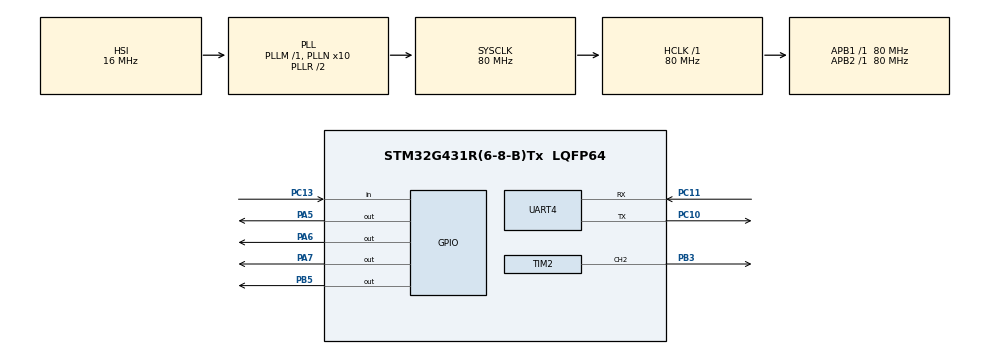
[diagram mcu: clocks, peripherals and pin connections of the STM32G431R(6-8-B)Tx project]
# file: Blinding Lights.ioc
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Dma.Request0=UART4_RX
Dma.UART4_RX.0.Direction=DMA_PERIPH_TO_MEMORY
Dma.UART4_RX.0.EventEnable=DISABLE
Dma.UART4_RX.0.Instance=DMA1_Channel1
Dma.UART4_RX.0.MemDataAlignment=DMA_MDATAALIGN_BYTE
Dma.UART4_RX.0.MemInc=DMA_MINC_ENABLE
Dma.UART4_RX.0.Mode=DMA_CIRCULAR
Dma.UART4_RX.0.PeriphDataAlignment=DMA_PDATAALIGN_BYTE
Dma.UART4_RX.0.PeriphInc=DMA_PINC_DISABLE
Dma.UART4_RX.0.Polarity=HAL_DMAMUX_REQ_GEN_RISING
Dma.UART4_RX.0.Priority=DMA_PRIORITY_LOW
Dma.UART4_RX.0.RequestNumber=1
Dma.UART4_RX.0.SignalID=NONE
Dma.UART4_RX.0.SyncEnable=DISABLE
Dma.UART4_RX.0.SyncPolarity=HAL_DMAMUX_SYNC_NO_EVENT
Dma.UART4_RX.0.SyncRequestNumber=1
Dma.UART4_RX.0.SyncSignalID=NONE
Mcu.Family=STM32G4
Mcu.Name=STM32G431R(6-8-B)Tx
Mcu.Package=LQFP64
NVIC.DMA1_Channel1_IRQn=true\:0\:0\:false\:false\:true\:false\:true\:true
NVIC.PriorityGroup=NVIC_PRIORITYGROUP_4
NVIC.TIM1_TRG_COM_TIM17_IRQn=true\:0\:0\:false\:false\:true\:true\:true\:true
NVIC.TIM2_IRQn=true\:0\:0\:false\:false\:true\:true\:true\:true
NVIC.UART4_IRQn=true\:0\:0\:false\:false\:true\:true\:true\:true
PA0.Signal=S_TIM2_CH1
PA13.GPIO_Label=T_SWDIO
PA13.Mode=Serial_Wire
PA13.Signal=SYS_JTMS-SWDIO
PA14.GPIO_Label=T_SWCLK
PA14.Mode=Serial_Wire
PA14.Signal=SYS_JTCK-SWCLK
PA5.Signal=GPIO_Output
PA6.Signal=GPIO_Output
PA7.Signal=GPIO_Output
PB3.Signal=S_TIM2_CH2
PB5.Signal=GPIO_Output
PC10.Mode=Asynchronous
PC10.Signal=UART4_TX
PC11.Mode=Asynchronous
PC11.Signal=UART4_RX
PC13.Signal=GPIO_Input
PC14-OSC32_IN.Mode=LSE-External-Oscillator
PC14-OSC32_IN.Signal=RCC_OSC32_IN
PC15-OSC32_OUT.Mode=LSE-External-Oscillator
PC15-OSC32_OUT.Signal=RCC_OSC32_OUT
PF0-OSC_IN.Mode=HSE-External-Oscillator
PF0-OSC_IN.Signal=RCC_OSC_IN
PF1-OSC_OUT.Mode=HSE-External-Oscillator
PF1-OSC_OUT.Signal=RCC_OSC_OUT
ProjectManager.HeapSize=0x200
ProjectManager.StackSize=0x400
ProjectManager.TargetToolchain=STM32CubeIDE
RCC.ADC12Freq_Value=80000000
RCC.AHBFreq_Value=80000000
RCC.APB1Freq_Value=80000000
RCC.APB1TimFreq_Value=80000000
RCC.APB2Freq_Value=80000000
RCC.APB2TimFreq_Value=80000000
RCC.CortexFreq_Value=80000000
RCC.EXTERNAL_CLOCK_VALUE=12288000
RCC.HCLKFreq_Value=80000000
RCC.HSE_VALUE=24000000
RCC.HSI48_VALUE=48000000
RCC.HSI_VALUE=16000000
RCC.PLLN=10
RCC.RTCClockSelection=RCC_RTCCLKSOURCE_LSE
RCC.SYSCLKFreq_VALUE=80000000
RCC.SYSCLKSource=RCC_SYSCLKSOURCE_PLLCLK
RCC.USBFreq_Value=80000000
RCC.VCOOutputFreq_Value=160000000
SH.S_TIM2_CH1.0=TIM2_CH1
SH.S_TIM2_CH2.0=TIM2_CH2,PWM Generation2 CH2
TIM17.PeriodNoDither=2 -1
TIM17.Prescaler=40000 -1
TIM2.Channel-PWM\ Generation2\ CH2=TIM_CHANNEL_2
TIM2.PeriodNoDither=255
TIM2.PulseNoDither_2=127
VP_SYS_VS_DBSignals.Mode=DisableDeadBatterySignals
VP_TIM17_VS_ClockSourceINT.Mode=Enable_Timer
VP_TIM2_VS_ClockSourceINT.Mode=Internal
board=NUCLEO-G431RB

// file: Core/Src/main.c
/* USER CODE BEGIN Header */
/**
 ******************************************************************************
 * @file           : main.c
 * @brief          : Main program body
 ******************************************************************************
 * @attention
 *
 * Copyright (c) 2023 STMicroelectronics.
 * All rights reserved.
 *
 * This software is licensed under terms that can be found in the LICENSE file
 * in the root directory of this software component.
 * If no LICENSE file comes with this software, it is provided AS-IS.
 *
 ******************************************************************************
 */
/* USER CODE END Header */
#include "main.h"

/* USER CODE BEGIN Includes */
#include "stdio.h"
#include "stm32g4xx_hal_tim.h"
#include <stdbool.h>
/*include "delay_us.h"*/
/* USER CODE END Includes */

/* USER CODE BEGIN PD */
#define LED_PORT_A GPIOA
#define LED_PIN_B GPIO_PIN_5
#define LED_PIN_G GPIO_PIN_6
#define LED_PIN_R GPIO_PIN_7
#define DELAY 10

/* USER CODE END PD */

TIM_HandleTypeDef htim2;
TIM_HandleTypeDef htim17;

UART_HandleTypeDef huart4;
DMA_HandleTypeDef hdma_uart4_rx;

/* USER CODE BEGIN PV */
volatile uint32_t millis, millis2; // Variable to count milliseconds
int buttonFlag, interrupt_flag; // Flag to indicate button press
/* USER CODE END PV */

void SystemClock_Config(void);
static void MX_GPIO_Init(void);
static void MX_DMA_Init(void);
static void MX_UART4_Init(void);
static void MX_TIM17_Init(void);
static void MX_TIM2_Init(void);
/* USER CODE BEGIN PFP */

#ifdef __GNUC__
#define PUTCHAR_PROTOTYPE int __io_putchar(int ch)
#else
#define PUTCHAR_PROTOTYPE int fputc(int ch, FILE *f)
#endif /* __GNUC__ */

/* USER CODE END PFP */

/* USER CODE BEGIN 0 */
static uint32_t counter1, counter2;
int sek, milli_in_sek;
void HAL_TIM_PeriodElapsedCallback(TIM_HandleTypeDef *htim) {
	// check if TIMER x is the one responsible the interrupts
	if (htim->Instance == TIM17) {
		millis++; // Increment milliseconds counter
		millis2++;
		counter1++;
		interrupt_flag = 1;
		milli_in_sek++;
		if (milli_in_sek == 1000) {
			sek++;
			milli_in_sek = 0;
		}
		if (HAL_GPIO_ReadPin(GPIOC, GPIO_PIN_13) == GPIO_PIN_SET) {
			printf("millisec: %lu\n ", millis);
		} else {
			printf("LED OFF \r\n");
		}
		// Read button state using HAL function
		buttonFlag = (HAL_GPIO_ReadPin(GPIOC, GPIO_PIN_13) == GPIO_PIN_SET);

	}

}

int i = 1;
void PRINT_THROW() {
	if (HAL_GPIO_ReadPin(GPIOC, GPIO_PIN_13) == GPIO_PIN_RESET) {
		printf("LED OFF\n\r");
		i = 1;
	} else if (HAL_GPIO_ReadPin(GPIOC, GPIO_PIN_13) == GPIO_PIN_SET) {
		printf("LED ON\n\r");
	}
}

void LEDS_BLINKING() {
	if (HAL_GPIO_ReadPin(GPIOC, GPIO_PIN_13) == GPIO_PIN_RESET) {
		HAL_GPIO_WritePin(GPIOA, LED_PIN_R | LED_PIN_G | LED_PIN_B,
				GPIO_PIN_RESET);
	} else {

		while (i <= 1) {
			PRINT_THROW();
			++i;
		}
	}
}

void LEDS_OFF() {
	HAL_GPIO_WritePin(GPIOA, LED_PIN_R, GPIO_PIN_RESET);
	HAL_GPIO_WritePin(GPIOA, LED_PIN_G, GPIO_PIN_RESET);
	HAL_GPIO_WritePin(GPIOA, LED_PIN_B, GPIO_PIN_RESET);
}

void Modus_1() {
	if (HAL_GPIO_ReadPin(GPIOC, GPIO_PIN_13) == GPIO_PIN_RESET) {
		millis = 0;
	}
}

void Modus_2() {
}

uint32_t elapsed_ms(void) {
	static uint32_t previous;
	uint32_t ms = counter1;
	uint32_t diff = ms - previous;
	previous = ms;
	return diff;
}

int duty_cycle, brightness_changer;
bool pwm_flag = true;
bool brightness_direction = true;

void pwm_simple(){
		counter2++;
		if (millis2 == 50){
			millis2 = 0;
			if (brightness_changer < 14 && brightness_direction == true){
				brightness_changer++;
			}
			else if (brightness_changer > 0 && brightness_direction == false){
				brightness_changer--;
			}
			else if (brightness_changer == 14){
				brightness_direction = false;
			}
			else if (brightness_changer == 0){
				brightness_direction = true;
			}
			else{
				brightness_changer = 0;
				brightness_direction = true;
			}
		}
		if (counter2 < 14) {
			if (duty_cycle < brightness_changer){
				duty_cycle++;
				pwm_flag = true;
			}
			else {
				pwm_flag = false;
			}
		}
		else {
			counter2 = 0;
			duty_cycle = 0;
		}
		if (pwm_flag == true) {
			HAL_GPIO_WritePin(GPIOB, GPIO_PIN_5, GPIO_PIN_SET);
		}
		else {
			HAL_GPIO_WritePin(GPIOB, GPIO_PIN_5, GPIO_PIN_RESET);
		}
}
/* USER CODE END 0 */

int main(void)
{
  /* USER CODE BEGIN 1 */
	char uart_buf[50];
	int uart_buf_len;
	/*uint16_t timer_val;*/
  /* USER CODE END 1 */

  /* MCU Configuration--------------------------------------------------------*/

  /* Reset of all peripherals, Initializes the Flash interface and the Systick. */
  HAL_Init();

  /* Configure the system clock */
  SystemClock_Config();

  /* Initialize all configured peripherals */
  MX_GPIO_Init();
  MX_DMA_Init();
  MX_UART4_Init();
  MX_TIM17_Init();
  MX_TIM2_Init();
  /* USER CODE BEGIN 2 */
	// Say something
	uart_buf_len = sprintf(uart_buf, "Timer test\r\n");
	HAL_UART_Transmit(&huart4, (uint8_t*) uart_buf, uart_buf_len, 100);
	// Start timer
	HAL_TIM_Base_Init(&htim17);
	HAL_TIM_PWM_MspInit(&htim2);
  /* USER CODE END 2 */

  /* Infinite loop */
  /* USER CODE BEGIN WHILE */
	printf(uart_buf);
	PRINT_THROW();
	HAL_TIM_Base_Start_IT(&htim17);
	HAL_TIM_Base_Init(&htim2);
	HAL_TIM_PWM_Init(&htim2);
	//HAL_TIM_PWM_ConfigChannel(&htim2, &sConfigOC, TIM_CHANNEL_2);
	while (1) {
		elapsed_ms();
		if (buttonFlag) {
			if (millis >= 0 && millis <= 300) {
				HAL_GPIO_WritePin(GPIOA, LED_PIN_R, GPIO_PIN_SET);
			} else if (millis >= 500 && millis <= 800) {
				HAL_GPIO_WritePin(GPIOA, LED_PIN_G, GPIO_PIN_SET);
			} else if (millis >= 1000 && millis <= 1300) {
				HAL_GPIO_WritePin(GPIOA, LED_PIN_B, GPIO_PIN_SET);
			} else if (millis >= 1500 && millis <= 1800) {
				HAL_GPIO_WritePin(GPIOA, LED_PIN_R | LED_PIN_G, GPIO_PIN_SET);
			} else if (millis >= 2000 && millis <= 2300) {
				HAL_GPIO_WritePin(GPIOA, LED_PIN_R | LED_PIN_B, GPIO_PIN_SET);
			} else if (millis >= 2500 && millis <= 2800) {
				HAL_GPIO_WritePin(GPIOA, LED_PIN_G | LED_PIN_B, GPIO_PIN_SET);
			} else if (millis >= 3000 && millis <= 3300) {
				HAL_GPIO_WritePin(GPIOA, LED_PIN_R | LED_PIN_G | LED_PIN_B,
						GPIO_PIN_SET);
			} else if (millis >= 3300 && millis <= 3500) {
				HAL_GPIO_WritePin(GPIOA, LED_PIN_R | LED_PIN_G | LED_PIN_B,
						GPIO_PIN_RESET);
			} else {
				// If the button is pressed but millis is not within the desired pattern
				LEDS_OFF();
			}
		} else {
			// If the button is not pressed, turn off all LEDs
			LEDS_OFF();
		}

		// Reset millis after every 1300ms cycle
		if (millis > 3500) {
			millis = 0;
		}
		if(interrupt_flag == 1){
			interrupt_flag = 0;
			pwm_simple();
		}
		/*bool direction = true;
		__HAL_TIM_SET_COMPARE(&htim2, TIM_CHANNEL_2, 0);
		uint32_t pwm_register = HAL_TIM_ReadCapturedValue(&htim2, TIM_CHANNEL_2);
		if (HAL_GPIO_ReadPin(GPIOC, GPIO_PIN_13) == GPIO_PIN_SET) {
			if (!(TIM2->CR1 & TIM_CR1_CEN)) {
				HAL_TIM_PWM_Start(&htim2, TIM_CHANNEL_2);
			}
			if (counter1 >= DELAY) {
				if ((direction == true) && pwm_register < 255) {
					pwm_register++;
					__HAL_TIM_SET_COMPARE(&htim2, TIM_CHANNEL_2, pwm_register);
					TIM2->CCR2 = pwm_register;
					counter1 = 0;
				}
				else if ((direction == false) && pwm_register > 0) {
					pwm_register--;
					__HAL_TIM_SET_COMPARE(&htim2, TIM_CHANNEL_2, pwm_register);
					TIM2->CCR2 = pwm_register;
					counter1 = 0;
				}
				else if (pwm_register == 0) {
					direction = true;
					__HAL_TIM_SET_COMPARE(&htim2, TIM_CHANNEL_2, pwm_register);
					TIM2->CCR2 = pwm_register;
					counter1 = 0;
				}
				else if (pwm_register == 255) {
					direction = false;
					__HAL_TIM_SET_COMPARE(&htim2, TIM_CHANNEL_2, pwm_register);
					TIM2->CCR2 = pwm_register;
					counter1 = 0;
				}
				else {
					pwm_register = 0;
					__HAL_TIM_SET_COMPARE(&htim2, TIM_CHANNEL_2, pwm_register);
					TIM2->CCR2 = pwm_register;
					counter1 = 0;
				}
			}
			uint32_t pwm_duty_cycle = TIM2->CCR2;
		}
		else {
			HAL_TIM_PWM_Stop(&htim2, TIM_CHANNEL_2);
		}*/
	}

    /* USER CODE END WHILE */

}

void SystemClock_Config(void)
{
  RCC_OscInitTypeDef RCC_OscInitStruct = {0};
  RCC_ClkInitTypeDef RCC_ClkInitStruct = {0};

  /** Configure the main internal regulator output voltage
  */
  HAL_PWREx_ControlVoltageScaling(PWR_REGULATOR_VOLTAGE_SCALE1);

  /** Initializes the RCC Oscillators according to the specified parameters
  * in the RCC_OscInitTypeDef structure.
  */
  RCC_OscInitStruct.OscillatorType = RCC_OSCILLATORTYPE_HSI;
  RCC_OscInitStruct.HSIState = RCC_HSI_ON;
  RCC_OscInitStruct.HSICalibrationValue = RCC_HSICALIBRATION_DEFAULT;
  RCC_OscInitStruct.PLL.PLLState = RCC_PLL_ON;
  RCC_OscInitStruct.PLL.PLLSource = RCC_PLLSOURCE_HSI;
  RCC_OscInitStruct.PLL.PLLM = RCC_PLLM_DIV1;
  RCC_OscInitStruct.PLL.PLLN = 10;
  RCC_OscInitStruct.PLL.PLLP = RCC_PLLP_DIV2;
  RCC_OscInitStruct.PLL.PLLQ = RCC_PLLQ_DIV2;
  RCC_OscInitStruct.PLL.PLLR = RCC_PLLR_DIV2;
  if (HAL_RCC_OscConfig(&RCC_OscInitStruct) != HAL_OK)
  {
    Error_Handler();
  }

  /** Initializes the CPU, AHB and APB buses clocks
  */
  RCC_ClkInitStruct.ClockType = RCC_CLOCKTYPE_HCLK|RCC_CLOCKTYPE_SYSCLK
                              |RCC_CLOCKTYPE_PCLK1|RCC_CLOCKTYPE_PCLK2;
  RCC_ClkInitStruct.SYSCLKSource = RCC_SYSCLKSOURCE_PLLCLK;
  RCC_ClkInitStruct.AHBCLKDivider = RCC_SYSCLK_DIV1;
  RCC_ClkInitStruct.APB1CLKDivider = RCC_HCLK_DIV1;
  RCC_ClkInitStruct.APB2CLKDivider = RCC_HCLK_DIV1;

  if (HAL_RCC_ClockConfig(&RCC_ClkInitStruct, FLASH_LATENCY_2) != HAL_OK)
  {
    Error_Handler();
  }
}

static void MX_TIM2_Init(void)
{

  TIM_ClockConfigTypeDef sClockSourceConfig = {0};
  TIM_MasterConfigTypeDef sMasterConfig = {0};
  TIM_OC_InitTypeDef sConfigOC = {0};

  htim2.Instance = TIM2;
  htim2.Init.Prescaler = 0;
  htim2.Init.CounterMode = TIM_COUNTERMODE_UP;
  htim2.Init.Period = 255;
  htim2.Init.ClockDivision = TIM_CLOCKDIVISION_DIV1;
  htim2.Init.AutoReloadPreload = TIM_AUTORELOAD_PRELOAD_DISABLE;
  if (HAL_TIM_Base_Init(&htim2) != HAL_OK)
  {
    Error_Handler();
  }
  sClockSourceConfig.ClockSource = TIM_CLOCKSOURCE_INTERNAL;
  if (HAL_TIM_ConfigClockSource(&htim2, &sClockSourceConfig) != HAL_OK)
  {
    Error_Handler();
  }
  if (HAL_TIM_PWM_Init(&htim2) != HAL_OK)
  {
    Error_Handler();
  }
  sMasterConfig.MasterOutputTrigger = TIM_TRGO_RESET;
  sMasterConfig.MasterSlaveMode = TIM_MASTERSLAVEMODE_DISABLE;
  if (HAL_TIMEx_MasterConfigSynchronization(&htim2, &sMasterConfig) != HAL_OK)
  {
    Error_Handler();
  }
  sConfigOC.OCMode = TIM_OCMODE_PWM1;
  sConfigOC.Pulse = 127;
  sConfigOC.OCPolarity = TIM_OCPOLARITY_HIGH;
  sConfigOC.OCFastMode = TIM_OCFAST_DISABLE;
  if (HAL_TIM_PWM_ConfigChannel(&htim2, &sConfigOC, TIM_CHANNEL_2) != HAL_OK)
  {
    Error_Handler();
  }
  HAL_TIM_MspPostInit(&htim2);

}

static void MX_TIM17_Init(void)
{

  htim17.Instance = TIM17;
  htim17.Init.Prescaler = 40000 -1;
  htim17.Init.CounterMode = TIM_COUNTERMODE_UP;
  htim17.Init.Period = 1;
  htim17.Init.ClockDivision = TIM_CLOCKDIVISION_DIV1;
  htim17.Init.RepetitionCounter = 0;
  htim17.Init.AutoReloadPreload = TIM_AUTORELOAD_PRELOAD_DISABLE;
  if (HAL_TIM_Base_Init(&htim17) != HAL_OK)
  {
    Error_Handler();
  }

}

static void MX_UART4_Init(void)
{

  huart4.Instance = UART4;
  huart4.Init.BaudRate = 115200;
  huart4.Init.WordLength = UART_WORDLENGTH_8B;
  huart4.Init.StopBits = UART_STOPBITS_1;
  huart4.Init.Parity = UART_PARITY_NONE;
  huart4.Init.Mode = UART_MODE_TX_RX;
  huart4.Init.HwFlowCtl = UART_HWCONTROL_NONE;
  huart4.Init.OverSampling = UART_OVERSAMPLING_16;
  huart4.Init.OneBitSampling = UART_ONE_BIT_SAMPLE_DISABLE;
  huart4.Init.ClockPrescaler = UART_PRESCALER_DIV1;
  huart4.AdvancedInit.AdvFeatureInit = UART_ADVFEATURE_NO_INIT;
  if (HAL_UART_Init(&huart4) != HAL_OK)
  {
    Error_Handler();
  }
  if (HAL_UARTEx_SetTxFifoThreshold(&huart4, UART_TXFIFO_THRESHOLD_1_8) != HAL_OK)
  {
    Error_Handler();
  }
  if (HAL_UARTEx_SetRxFifoThreshold(&huart4, UART_RXFIFO_THRESHOLD_1_8) != HAL_OK)
  {
    Error_Handler();
  }
  if (HAL_UARTEx_DisableFifoMode(&huart4) != HAL_OK)
  {
    Error_Handler();
  }

}

static void MX_DMA_Init(void)
{

  /* DMA controller clock enable */
  __HAL_RCC_DMAMUX1_CLK_ENABLE();
  __HAL_RCC_DMA1_CLK_ENABLE();

  /* DMA interrupt init */
  /* DMA1_Channel1_IRQn interrupt configuration */
  HAL_NVIC_SetPriority(DMA1_Channel1_IRQn, 0, 0);
  HAL_NVIC_EnableIRQ(DMA1_Channel1_IRQn);

}

static void MX_GPIO_Init(void)
{
  GPIO_InitTypeDef GPIO_InitStruct = {0};

  /* GPIO Ports Clock Enable */
  __HAL_RCC_GPIOC_CLK_ENABLE();
  __HAL_RCC_GPIOF_CLK_ENABLE();
  __HAL_RCC_GPIOA_CLK_ENABLE();
  __HAL_RCC_GPIOB_CLK_ENABLE();

  /*Configure GPIO pin Output Level */
  HAL_GPIO_WritePin(GPIOA, GPIO_PIN_5|GPIO_PIN_6|GPIO_PIN_7, GPIO_PIN_RESET);

  /*Configure GPIO pin Output Level */
  HAL_GPIO_WritePin(GPIOB, GPIO_PIN_5, GPIO_PIN_RESET);

  /*Configure GPIO pin : PC13 */
  GPIO_InitStruct.Pin = GPIO_PIN_13;
  GPIO_InitStruct.Mode = GPIO_MODE_INPUT;
  GPIO_InitStruct.Pull = GPIO_NOPULL;
  HAL_GPIO_Init(GPIOC, &GPIO_InitStruct);

  /*Configure GPIO pins : PA5 PA6 PA7 */
  GPIO_InitStruct.Pin = GPIO_PIN_5|GPIO_PIN_6|GPIO_PIN_7;
  GPIO_InitStruct.Mode = GPIO_MODE_OUTPUT_PP;
  GPIO_InitStruct.Pull = GPIO_NOPULL;
  GPIO_InitStruct.Speed = GPIO_SPEED_FREQ_LOW;
  HAL_GPIO_Init(GPIOA, &GPIO_InitStruct);

  /*Configure GPIO pin : PB5 */
  GPIO_InitStruct.Pin = GPIO_PIN_5;
  GPIO_InitStruct.Mode = GPIO_MODE_OUTPUT_PP;
  GPIO_InitStruct.Pull = GPIO_NOPULL;
  GPIO_InitStruct.Speed = GPIO_SPEED_FREQ_LOW;
  HAL_GPIO_Init(GPIOB, &GPIO_InitStruct);

}

/* USER CODE BEGIN 4 */
/*PUTCHAR_PROTOTYPE
 {
 HAL_UART_Transmit(&huart4, (uint8_t *)&ch, 1, 0xFFFF);
 return ch;
 }*/
int __io_putchar(int ch) {
	ITM_SendChar(ch);
	return ch;
}
/* USER CODE END 4 */

void Error_Handler(void)
{
	__disable_irq();
	while (1) {
	}
}
